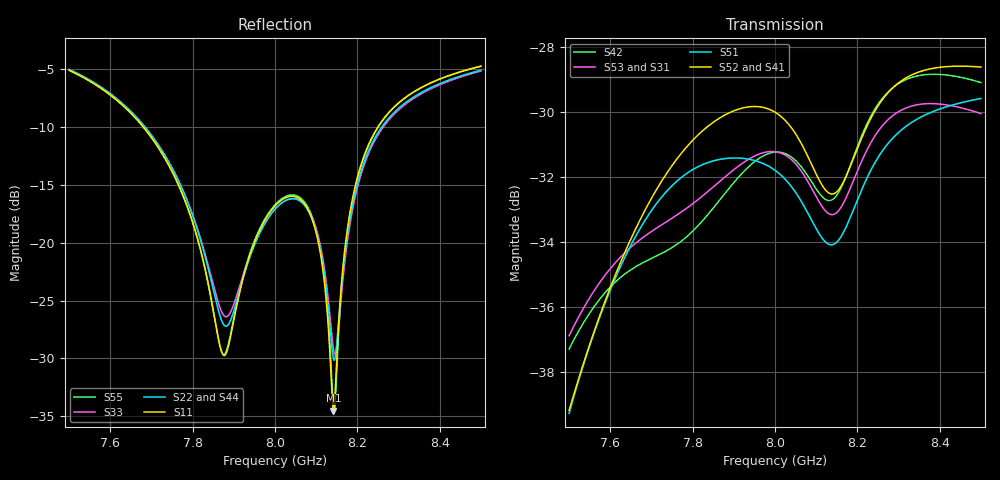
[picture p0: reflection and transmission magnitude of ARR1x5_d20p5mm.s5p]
! Touchstone file exported from HFSS 2025.1.0
!  File:  C:/Users/user/Documents/Ansoft/TFG_UWB-MIMO-Array.aedt
!  Generated:  09:03:17 PM Nov 21, 2026
!  Design:  ARR1x5_US3_PS4_2_1_dparam
!  Project:  TFG_UWB-MIMO-Array
!  Setup:  Setup_ch9
!  Solution:  Sweep_7p5_8p5
! Variables:
!  arr_d = 20.5mm
!  board_m = 13mm
!  board_x = 108mm
!  board_y = 26mm
!  cu_t = 0.035mm
!  line_w = 3.92mm
!  pad_xy = 22mm
!  pad_zn = 25mm
!  pad_zp = 33mm
!  par_L = 7.46mm
!  par_W = 10mm
!  par_yc = 0.75mm
!  par_z = 1.035mm
!  patch_L = 6.222mm
!  patch_W = 11.421266mm
!  sub_h = 2.07mm
!  tr_l = 6.6mm
!  tr_w = 0.8mm
!  u_Lu = 2.65mm
!  u_Wu = 4.4mm
!  u_t = 0.8mm
!  u_y0 = -0.7mm
# GHz S MA R 50.000000
! Terminal data exported
! Port[1] = P1
! Port[2] = P2
! Port[3] = P3
! Port[4] = P4
! Port[5] = P5
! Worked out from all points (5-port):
!   1001 points, 7.5 GHz to 8.5 GHz, reference 50 ohm
!   strongest paths, dB at 7.5 GHz, 7.75 GHz, 8 GHz, 8.25 GHz, 8.5 GHz:
!     S52: -39.2, -31.7, -30.0, -29.8, -28.6
!     S41: -39.2, -31.7, -30.0, -29.8, -28.6
!     S51: -39.3, -32.3, -31.8, -31.4, -29.6
!     S53: -36.9, -33.3, -31.2, -30.6, -30.1
!     S42: -37.3, -34.2, -31.2, -29.8, -29.1
!     S31: -37.0, -33.3, -31.3, -30.7, -30.1
!   lowest |S11| = -34.5 dB at 8.142 GHz (marker M1), VSWR 1.04, Z = 51.3 + j1.37 ohm
!   |S11| at or under -10 dB: 7.681 GHz to 8.25 GHz (568.9 MHz wide, 7.14 % of centre)
